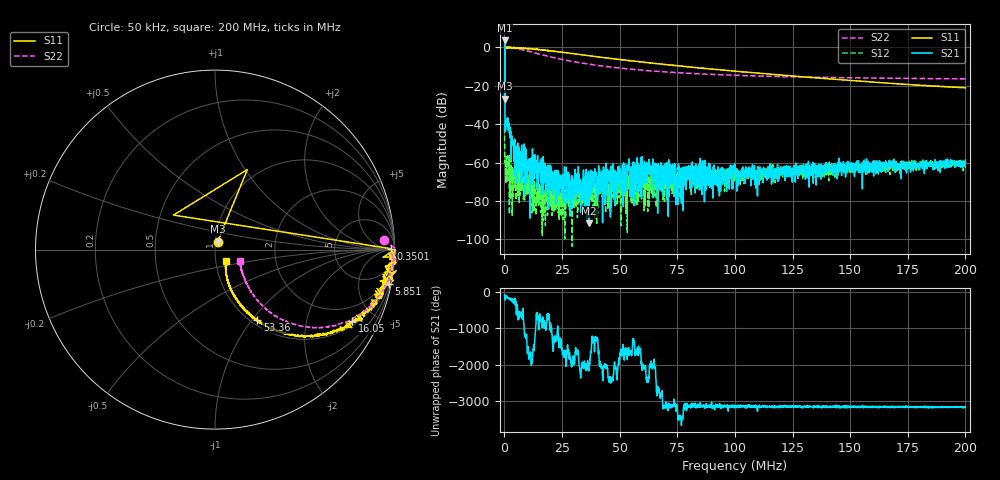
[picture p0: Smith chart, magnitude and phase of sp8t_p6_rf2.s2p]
! 26-Feb-26 12:26:17 PM
! E:\VNA_MEASUREMENTS\SP8T\SP8T_P6_RF2.S2P
! CHANNEL.1
! TR.MEASUREMENT
! CORRECTED.DATA
# GHZ S RI R 50.0
! FREQ.GHZ  S11RE  S11IM  S21RE  S21IM  S12RE  S12IM  S22RE  S22IM
!; PortSelection: Port_12
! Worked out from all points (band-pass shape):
!   2000 points, 50 kHz to 200 MHz, reference 50 ohm
!   highest |S21| = 3.65 dB at 150 kHz (marker M1); lowest = -91.7 dB at 36.76 MHz (marker M2)
!   |S21| within 3 dB of the highest: 140.7 kHz to 156.4 kHz (15.7 kHz wide, 10.6 % of centre)
!   lowest |S11| = -26.8 dB at 50 kHz (marker M3), VSWR 1.10, Z = 51.3 + j4.46 ohm
!   |S11| at or under -10 dB: start of sweep to 132.2 kHz; 78.47471 MHz to 78.75863 MHz (283.9 kHz wide, 0.361 % of centre); 78.93 MHz to end of sweep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
!   |S22| runs from -16.4 to 0.1 dB; largest |S21 - S12| = 1.5
!   S11 on the Smith chart (normalised r, x): 50 kHz: 1.03, +0.09; 350.1 kHz: open; 5.851 MHz: 1, -10; 16.05 MHz: 1.19, -3.72; 53.36 MHz: 1.07, -1.06; 200 MHz: 1.12, -0.14
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5e-05  0.0147 0.0434  0.00835 -0.0368  -0.0074 0.00366  0.9414 0.0542
0.000150025  0.1803 0.4461  -1.309 -0.7768  -5.7e-05 0.000982  1.007 0.00363
0.000350075  0.9807 0.00517  -0.00377 -0.00904  0.000758 0.000924  0.9976 -0.0247
0.001350325  1.003 -0.0641  -0.0104 -0.00259  0.00149 0.00017  0.9869 -0.0859
0.005851451  0.9701 -0.1929  0.000715 -0.000966  -0.000132 3.22e-05  0.8651 -0.3208
0.01055263  0.8661 -0.3075  0.000393 -0.000475  -0.000175 8.61e-05  0.668 -0.4234
0.01355338  0.8017 -0.3627  -0.000528 0.000377  -6.49e-05 8.5e-05  0.5619 -0.4347
0.016054  0.7652 -0.3995  -0.000104 -0.000106  7e-05 -0.000295  0.4902 -0.4274
0.01995498  0.6741 -0.4526  -0.000508 -0.000469  -3.51e-05 -0.000105  0.4039 -0.4023
0.03345835  0.4345 -0.4762  -1.62e-05 0.000111  -1.86e-05 7.12e-05  0.2534 -0.3012
0.03675918  0.3893 -0.4684  -1.36e-05 2.21e-05  -0.000156 0.000108  0.2354 -0.2812
0.03915978  0.3566 -0.4557  0.000593 -0.000346  -0.000136 2.64e-05  0.2242 -0.268
0.05126281  0.2477 -0.4077  -0.000456 0.000146  -0.000147 7e-07  0.1879 -0.2146
0.05336333  0.236 -0.3925  0.000169 0.000404  -0.000149 0.000309  0.1844 -0.2067
0.05546386  0.2192 -0.3851  -8.85e-05 -8.63e-05  -0.000146 0.00022  0.1813 -0.1998
0.05926481  0.2008 -0.3671  9.81e-05 -9.02e-05  -0.000288 0.000153  0.1749 -0.1884
0.06276568  0.1858 -0.3554  0.000312 -0.000472  -2.8e-05 0.000197  0.1708 -0.1782
0.06676668  0.167 -0.3378  -0.000684 0.000614  -0.000254 0.000318  0.1669 -0.1691
0.100075  0.0891 -0.2246  5.06e-05 0.000582  -7.2e-06 0.000446  0.1489 -0.1161
0.1333833  0.0649 -0.1509  9.81e-05 0.000798  0.00018 0.000428  0.1425 -0.0892
0.1666917  0.059 -0.1011  8.52e-05 0.00103  4.71e-05 0.000692  0.1398 -0.0734
0.2  0.0624 -0.0634  0.000258 0.00114  0.000107 0.000724  0.138 -0.0618
